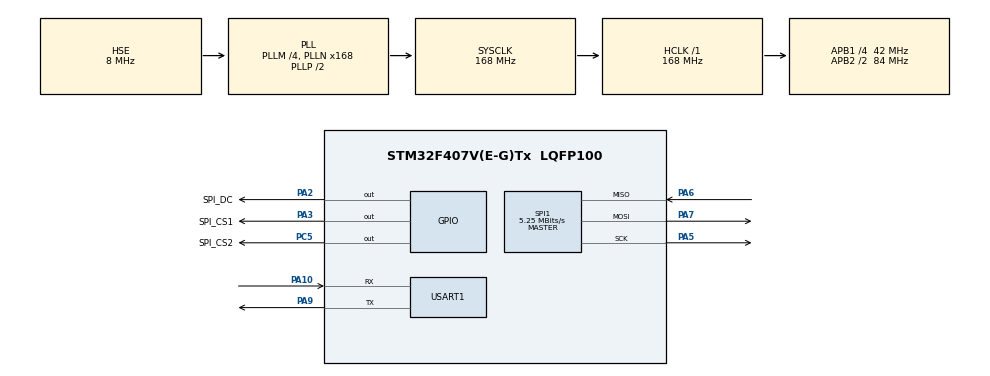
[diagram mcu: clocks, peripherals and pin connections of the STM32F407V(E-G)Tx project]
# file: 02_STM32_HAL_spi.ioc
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Dma.Request0=USART1_RX
Dma.Request1=USART1_TX
Dma.USART1_RX.0.Direction=DMA_PERIPH_TO_MEMORY
Dma.USART1_RX.0.FIFOMode=DMA_FIFOMODE_DISABLE
Dma.USART1_RX.0.Instance=DMA2_Stream2
Dma.USART1_RX.0.MemDataAlignment=DMA_MDATAALIGN_BYTE
Dma.USART1_RX.0.MemInc=DMA_MINC_ENABLE
Dma.USART1_RX.0.Mode=DMA_NORMAL
Dma.USART1_RX.0.PeriphDataAlignment=DMA_PDATAALIGN_BYTE
Dma.USART1_RX.0.PeriphInc=DMA_PINC_DISABLE
Dma.USART1_RX.0.Priority=DMA_PRIORITY_LOW
Dma.USART1_TX.1.Direction=DMA_MEMORY_TO_PERIPH
Dma.USART1_TX.1.FIFOMode=DMA_FIFOMODE_DISABLE
Dma.USART1_TX.1.Instance=DMA2_Stream7
Dma.USART1_TX.1.MemDataAlignment=DMA_MDATAALIGN_BYTE
Dma.USART1_TX.1.MemInc=DMA_MINC_ENABLE
Dma.USART1_TX.1.Mode=DMA_NORMAL
Dma.USART1_TX.1.PeriphDataAlignment=DMA_PDATAALIGN_BYTE
Dma.USART1_TX.1.PeriphInc=DMA_PINC_DISABLE
Dma.USART1_TX.1.Priority=DMA_PRIORITY_LOW
Mcu.Family=STM32F4
Mcu.Name=STM32F407V(E-G)Tx
Mcu.Package=LQFP100
NVIC.DMA2_Stream2_IRQn=true\:0\:0\:false\:false\:true\:false\:true\:true
NVIC.DMA2_Stream7_IRQn=true\:0\:0\:false\:false\:true\:false\:true\:true
NVIC.PriorityGroup=NVIC_PRIORITYGROUP_4
NVIC.USART1_IRQn=true\:0\:0\:false\:false\:true\:true\:true\:true
PA10.Mode=Asynchronous
PA10.Signal=USART1_RX
PA13.Mode=Serial_Wire
PA13.Signal=SYS_JTMS-SWDIO
PA14.Mode=Serial_Wire
PA14.Signal=SYS_JTCK-SWCLK
PA2.GPIO_Label=SPI_DC
PA2.PinState=GPIO_PIN_SET
PA2.Signal=GPIO_Output
PA3.GPIO_Label=SPI_CS1
PA3.PinState=GPIO_PIN_SET
PA3.Signal=GPIO_Output
PA5.Mode=Full_Duplex_Master
PA5.Signal=SPI1_SCK
PA6.Mode=Full_Duplex_Master
PA6.Signal=SPI1_MISO
PA7.Mode=Full_Duplex_Master
PA7.Signal=SPI1_MOSI
PA9.Mode=Asynchronous
PA9.Signal=USART1_TX
PC5.GPIO_Label=SPI_CS2
PC5.PinState=GPIO_PIN_SET
PC5.Signal=GPIO_Output
PH0-OSC_IN.Mode=HSE-External-Oscillator
PH0-OSC_IN.Signal=RCC_OSC_IN
PH1-OSC_OUT.Mode=HSE-External-Oscillator
PH1-OSC_OUT.Signal=RCC_OSC_OUT
ProjectManager.HeapSize=0x200
ProjectManager.StackSize=0x400
ProjectManager.TargetToolchain=MDK-ARM V5.32
RCC.48MHZClocksFreq_Value=84000000
RCC.AHBFreq_Value=168000000
RCC.APB1CLKDivider=RCC_HCLK_DIV4
RCC.APB1Freq_Value=42000000
RCC.APB1TimFreq_Value=84000000
RCC.APB2CLKDivider=RCC_HCLK_DIV2
RCC.APB2Freq_Value=84000000
RCC.APB2TimFreq_Value=168000000
RCC.CortexFreq_Value=168000000
RCC.HCLKFreq_Value=168000000
RCC.HSE_VALUE=8000000
RCC.HSI_VALUE=16000000
RCC.LSE_VALUE=32768
RCC.PLLM=4
RCC.PLLN=168
RCC.PLLSourceVirtual=RCC_PLLSOURCE_HSE
RCC.SYSCLKFreq_VALUE=168000000
RCC.SYSCLKSource=RCC_SYSCLKSOURCE_PLLCLK
RCC.VCOOutputFreq_Value=336000000
SPI1.BaudRatePrescaler=SPI_BAUDRATEPRESCALER_16
SPI1.CLKPhase=SPI_PHASE_2EDGE
SPI1.CLKPolarity=SPI_POLARITY_HIGH
SPI1.CalculateBaudRate=5.25 MBits/s
SPI1.Direction=SPI_DIRECTION_2LINES
SPI1.Mode=SPI_MODE_MASTER
SPI1.VirtualType=VM_MASTER
USART1.VirtualMode=VM_ASYNC
board=custom

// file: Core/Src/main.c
/* USER CODE BEGIN Header */
/**
  ******************************************************************************
  * @file           : main.c
  * @brief          : Main program body
  ******************************************************************************
  * @attention
  *
  * Copyright (c) 2024 STMicroelectronics.
  * All rights reserved.
  *
  * This software is licensed under terms that can be found in the LICENSE file
  * in the root directory of this software component.
  * If no LICENSE file comes with this software, it is provided AS-IS.
  *
  ******************************************************************************
  */
/* USER CODE END Header */
#include "main.h"
#include "dma.h"
#include "spi.h"
#include "usart.h"
#include "gpio.h"

/* USER CODE BEGIN Includes */
#include "oled.h"
#include "bmp.h"
/* USER CODE END Includes */

void SystemClock_Config(void);

int main(void)
{

  /* MCU Configuration--------------------------------------------------------*/

  /* Reset of all peripherals, Initializes the Flash interface and the Systick. */
  HAL_Init();

  /* Configure the system clock */
  SystemClock_Config();

  /* Initialize all configured peripherals */
  MX_GPIO_Init();
  MX_DMA_Init();
  MX_USART1_UART_Init();
  MX_SPI1_Init();

  /* Infinite loop */
  /* USER CODE BEGIN WHILE */

	u8 t=' ';
 	OLED_Init();				//初始化OLED
	OLED_ColorTurn(0);//0正常显示，1 反色显示
  OLED_DisplayTurn(0);//0正常显示 1 屏幕翻转显示
  while (1)
  {
		OLED_Display_128x64(bmp1);
		HAL_Delay(500);
		OLED_Display_GB2312_string(0,0,"12864,带中文字库");	/*在第1页，第1列，显示一串16x16点阵汉字或8x16的ASCII字*/
		OLED_Display_GB2312_string(0,2,"16X16简体汉字库,");  /*显示一串16x16点阵汉字或8x16的ASCII字.以下雷同*/
		OLED_Display_GB2312_string(0,4,"或8X16点阵ASCII,");
		OLED_Display_GB2312_string(0,6,"或5X7点阵ASCII码");
		HAL_Delay(500);
		OLED_Clear();
		OLED_Display_GB2312_string(24,0,"中景园电子");
		OLED_Display_GB2312_string(0,2,"主要生产OLED模块");
		OLED_Display_GB2312_string(0,4,"顾客至上真诚服务");
		OLED_Display_GB2312_string(0,6,"诚信与质量第一！");
		HAL_Delay(500);
		OLED_Clear();
		OLED_Display_GB2312_string(0,0,"GB2312简体字库及");
		OLED_Display_GB2312_string(0,2,"有图型功能，可自");
		OLED_Display_GB2312_string(0,4,"编大字或图像或生");
		OLED_Display_GB2312_string(0,6,"僻字，例如：");
		OLED_Display_16x16(97,6,jiong1);					/*在第7页，第81列显示单个自编生僻汉字“囧”*/
    OLED_Display_16x16(113,6,lei1);
		HAL_Delay(500);
		OLED_Clear();
		OLED_Display_GB2312_string(0,0,"<!@#$%^&*()_-+]/");	/*在第1页，第1列，显示一串16x16点阵汉字或8*16的ASCII字*/
		OLED_Display_string_5x7(0,2,"<!@#$%^&*()_-+]/;.,?[");/*在第3页，第1列，显示一串5x7点阵的ASCII字*/
		OLED_Display_string_5x7(0,3,"XY electronics Co., ");/*显示一串5x7点阵的ASCII字*/
		OLED_Display_string_5x7(0,4,"Ltd. established at  ");/*显示一串5x7点阵的ASCII字*/
		OLED_Display_string_5x7(0,5,"year 2010.Focus OLED ");/*显示一串5x7点阵的ASCII字*/
		OLED_Display_string_5x7(0,6,"Mobile:13265585975");/*显示一串5x7点阵的ASCII字*/
		OLED_Display_string_5x7(0,7,"Tel:0755-32910715");/*显示一串5x7点阵的ASCII字*/
		HAL_Delay(500);
		OLED_Clear();
		OLED_Display_GB2312_string(0,0,"啊阿埃挨哎唉哀皑");	/*在第1页，第1列，显示一串16x16点阵汉字或8x16的ASCII字*/
		OLED_Display_GB2312_string(0,2,"癌蔼矮艾碍爱隘鞍");  /*显示一串16x16点阵汉字或8x16的ASCII字.以下雷同*/
		OLED_Display_GB2312_string(0,4,"氨安俺按暗岸胺案");
		OLED_Display_GB2312_string(0,6,"肮昂盎凹敖熬翱袄");
		HAL_Delay(500);
		OLED_Clear();
		OLED_Display_GB2312_string(0,0,"鬟鬣麽麾縻麂麇麈");
		OLED_Display_GB2312_string(0,2,"麋麒鏖麝麟黛黜黝");
		OLED_Display_GB2312_string(0,4,"黠黟黢黩黧黥黪黯");
		OLED_Display_GB2312_string(0,6,"齄鼬鼹鼷鼽鼾鼢鼯");
		HAL_Delay(500);
		OLED_Clear();
    /* USER CODE END WHILE */

  }
}

void SystemClock_Config(void)
{
  RCC_OscInitTypeDef RCC_OscInitStruct = {0};
  RCC_ClkInitTypeDef RCC_ClkInitStruct = {0};

  /** Configure the main internal regulator output voltage
  */
  __HAL_RCC_PWR_CLK_ENABLE();
  __HAL_PWR_VOLTAGESCALING_CONFIG(PWR_REGULATOR_VOLTAGE_SCALE1);

  /** Initializes the RCC Oscillators according to the specified parameters
  * in the RCC_OscInitTypeDef structure.
  */
  RCC_OscInitStruct.OscillatorType = RCC_OSCILLATORTYPE_HSE;
  RCC_OscInitStruct.HSEState = RCC_HSE_ON;
  RCC_OscInitStruct.PLL.PLLState = RCC_PLL_ON;
  RCC_OscInitStruct.PLL.PLLSource = RCC_PLLSOURCE_HSE;
  RCC_OscInitStruct.PLL.PLLM = 4;
  RCC_OscInitStruct.PLL.PLLN = 168;
  RCC_OscInitStruct.PLL.PLLP = RCC_PLLP_DIV2;
  RCC_OscInitStruct.PLL.PLLQ = 4;
  if (HAL_RCC_OscConfig(&RCC_OscInitStruct) != HAL_OK)
  {
    Error_Handler();
  }

  /** Initializes the CPU, AHB and APB buses clocks
  */
  RCC_ClkInitStruct.ClockType = RCC_CLOCKTYPE_HCLK|RCC_CLOCKTYPE_SYSCLK
                              |RCC_CLOCKTYPE_PCLK1|RCC_CLOCKTYPE_PCLK2;
  RCC_ClkInitStruct.SYSCLKSource = RCC_SYSCLKSOURCE_PLLCLK;
  RCC_ClkInitStruct.AHBCLKDivider = RCC_SYSCLK_DIV1;
  RCC_ClkInitStruct.APB1CLKDivider = RCC_HCLK_DIV4;
  RCC_ClkInitStruct.APB2CLKDivider = RCC_HCLK_DIV2;

  if (HAL_RCC_ClockConfig(&RCC_ClkInitStruct, FLASH_LATENCY_5) != HAL_OK)
  {
    Error_Handler();
  }
}

void Error_Handler(void)
{
  __disable_irq();
  while (1)
  {
  }
}
